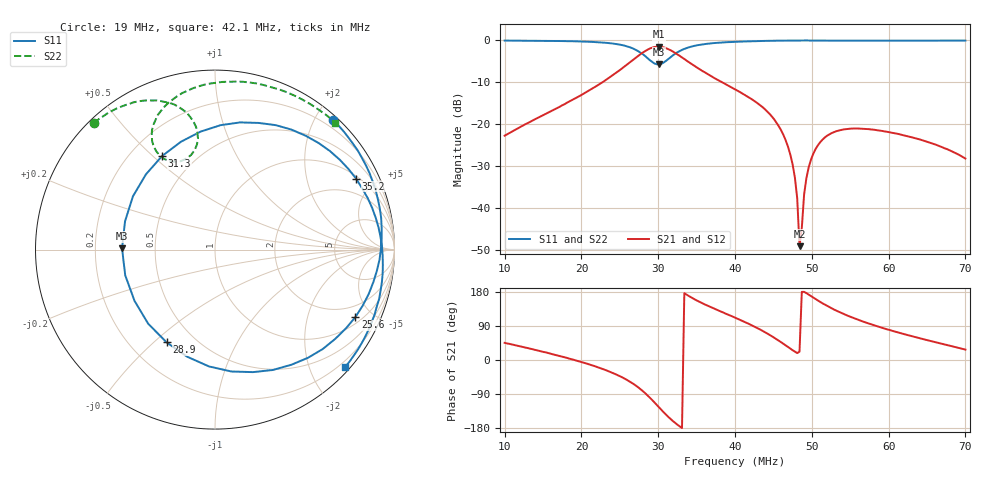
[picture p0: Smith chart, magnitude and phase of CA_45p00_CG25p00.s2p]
#  HZ  S  RI  R  50.00
! Rohde & Schwarz ZVT8 8Ports - Version 4.11 - 1300.0000k08 SN: 100242
! Date: 2026-07-31 15:00:41
! Measurements: S11 S21 S12 S22
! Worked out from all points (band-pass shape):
!   201 points, 10 MHz to 70 MHz, reference 50 ohm
!   highest |S21| = -1.47 dB at 30.1 MHz (marker M1); lowest = -49.0 dB at 48.4 MHz (marker M2)
!   |S21| within 3 dB of the highest: 26.82 MHz to 33.44 MHz (6.617 MHz wide, 22 % of centre)
!   lowest |S11| = -5.7 dB at 30.1 MHz (marker M3), VSWR 3.15, Z = 15.9 + j0.307 ohm
!   |S11| at or under -10 dB: nowhere
!   |S22| runs from -5.5 to 0.0 dB; largest |S21 - S12| = 0.0028
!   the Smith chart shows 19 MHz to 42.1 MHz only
!   S11 on the Smith chart (normalised r, x): 19 MHz: 0.07, +2.26; 25.6 MHz: 1.30, -3.98; 28.9 MHz: 0.35, -0.55; 31.3 MHz: 0.33, +0.54; 35.2 MHz: 1.11, +3.91; 42.1 MHz: 0.09, -2.60
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1e7  -0.4024 0.9111  0.0516 0.0521  0.0514 0.0522  -0.9197 0.3828
1.48e7  0.1701 0.9738  0.1162 0.0482  0.1162 0.0485  -0.8162 0.5602
1.9e7  0.6572 0.7229  0.1998 0.00216  0.1992 0.0019  -0.6752 0.7046
2.02e7  0.7695 0.5887  0.2282 -0.026  0.2275 -0.0258  -0.6239 0.742
2.56e7  0.7818 -0.3765  0.3215 -0.3666  0.3223 -0.3668  -0.2785 0.8224
2.74e7  0.3223 -0.6707  0.2015 -0.6244  0.1988 -0.6243  -0.1367 0.7372
2.89e7  -0.2693 -0.5169  -0.1282 -0.7889  -0.1279 -0.7877  -0.1005 0.5857
3.01e7  -0.518 0.00707  -0.4827 -0.6924  -0.482 -0.6921  -0.1914 0.4924
3.13e7  -0.2946 0.5214  -0.6821 -0.3955  -0.6801 -0.3958  -0.3087 0.5246
3.28e7  0.2436 0.7057  -0.6526 -0.0547  -0.651 -0.0527  -0.3512 0.6655
3.52e7  0.7858 0.3958  -0.4228 0.1948  -0.423 0.1945  -0.2086 0.8563
4e7  0.8735 -0.4029  -0.0975 0.2428  -0.0971 0.2428  0.3572 0.8925
4.21e7  0.7249 -0.6551  -0.00832 0.2016  -0.00862 0.2017  0.669 0.7081
4.48e7  0.4535 -0.8796  0.057 0.1104  0.057 0.1103  0.9776 0.1275
4.69e7  0.2069 -0.9747  0.0448 0.0306  0.0445 0.0306  0.8119 -0.5664
4.78e7  0.0981 -0.9929  0.0215 0.0087  0.0216 0.00865  0.5647 -0.8153
4.84e7  0.024 -0.9982  0.00329 0.00132  0.00337 0.00133  0.3519 -0.9265
4.93e7  -0.0861 -0.9947  -0.023 0.00142  -0.0231 0.00146  0.00808 -0.9924
5.02e7  -0.1908 -0.9789  -0.0433 0.0118  -0.0433 0.0119  -0.3154 -0.9405
5.38e7  -0.5682 -0.814  -0.0488 0.0706  -0.0487 0.0705  -0.9587 -0.2478
6.01e7  -0.9621 -0.244  0.0148 0.0793  0.0149 0.079  -0.8073 0.5771
7e7  -0.6415 0.7614  0.0348 0.0181  0.0347 0.018  -0.2491 0.9643
